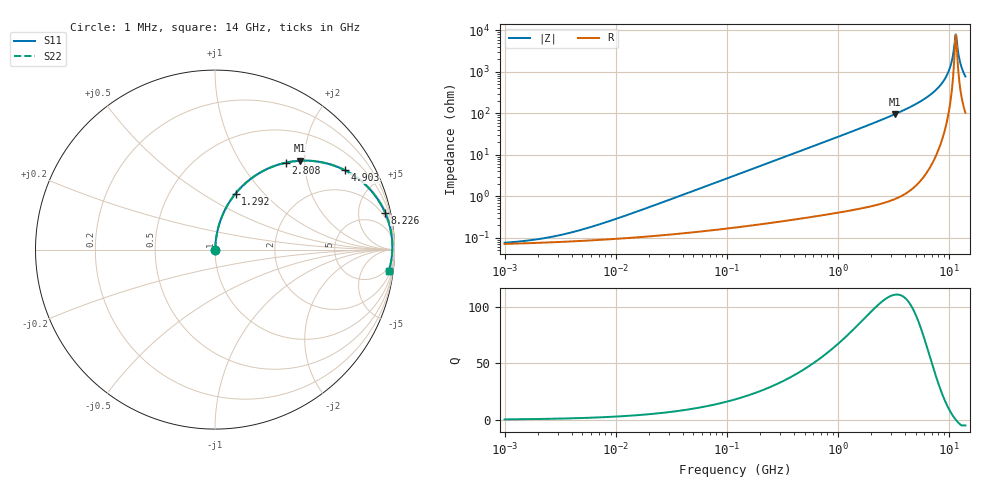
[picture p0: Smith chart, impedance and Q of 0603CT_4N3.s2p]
# MHz  S  MA  R  50
!Freq  MagS11  AngS11  MagS21  AngS21  MagS12  AngS12  MagS22  AngS22
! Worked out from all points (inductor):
!   961 points, 1 MHz to 14 GHz, reference 50 ohm
!   read as one part in series: L = 4.3 nH near 10.68 MHz
!   highest Q = 111 at 3.228 GHz (marker M1), where L = 4.67 nH
!   self-resonance near 11.42 GHz
!   S11 on the Smith chart (normalised r, x): 1 MHz: 1.00, +0.00; 1.292 GHz: 1.01, +0.71; 2.808 GHz: 1.01, +1.61; 4.903 GHz: 1.03, +3.24; 8.226 GHz: 1.32, +9.12; 14 GHz: 3, -15
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1  0.0007657 20.6  0.9993 -0.0  0.9993 -0.0  0.0007657 20.6
2.261271  0.0009829 38.4  0.9992 -0.0  0.9992 -0.0  0.0009829 38.4
4.913826  0.001574 57.4  0.9992 -0.1  0.9992 -0.1  0.001574 57.4
24.14569  0.006614 79.8  0.9988 -0.4  0.9988 -0.4  0.006614 79.8
118.6477  0.03204 85.0  0.9977 -1.8  0.9977 -1.8  0.03204 85.0
583.0143  0.1555 79.9  0.9847 -8.9  0.9847 -8.9  0.1555 79.9
1292.377  0.3321 69.9  0.939 -19.4  0.939 -19.4  0.3321 69.9
2808.383  0.6252 50.8  0.7747 -38.7  0.7747 -38.7  0.6252 50.8
2864.831  0.6337 50.1  0.7677 -39.3  0.7677 -39.3  0.6337 50.1
3228.163  0.6846 46.3  0.7228 -43.2  0.7228 -43.2  0.6846 46.3
4902.902  0.847 31.5  0.5228 -57.9  0.5228 -57.9  0.847 31.5
6608.371  0.9312 20.4  0.3488 -68.6  0.3488 -68.6  0.9312 20.4
8225.544  0.9698 12.3  0.2126 -75.7  0.2126 -75.7  0.9698 12.3
9268.749  0.9819 7.9  0.137 -78.5  0.137 -78.5  0.9819 7.9
10036.73  0.9866 4.9  0.08651 -78.6  0.08651 -78.6  0.9866 4.9
10548.7  0.988 3.1  0.05524 -75.9  0.05524 -75.9  0.988 3.1
11086.79  0.9884 1.3  0.02524 -61.9  0.02524 -61.9  0.9884 1.3
11422.73  0.9881 0.2  0.01245 -16.3  0.01245 -16.3  0.9881 0.2
11768.85  0.9873 -0.9  0.01989 50.0  0.01989 50.0  0.9873 -0.9
12369.18  0.9853 -2.7  0.04893 71.1  0.04893 71.1  0.9853 -2.7
12871.42  0.9828 -4.1  0.07362 74.4  0.07362 74.4  0.9828 -4.1
14000  0.9753 -7.2  0.1261 75.2  0.1261 75.2  0.9753 -7.2
